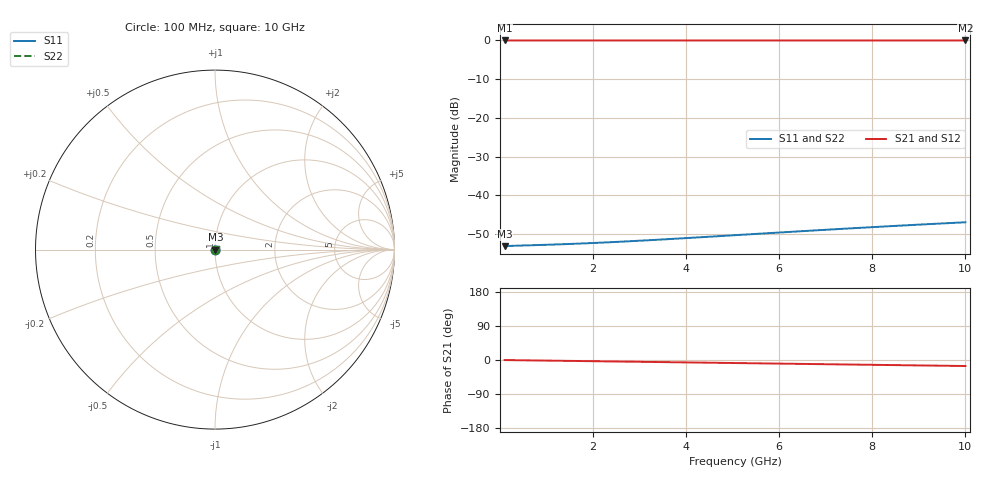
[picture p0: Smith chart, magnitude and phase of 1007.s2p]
# Hz S RI R 50.00
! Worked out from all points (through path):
!   100 points, 100 MHz to 10 GHz, reference 50 ohm
!   highest |S21| = -0.02 dB at 100 MHz (marker M1); lowest = 0.0 dB at 10 GHz (marker M2)
!   group delay of S21, straight-line fit = 4.41 ps
!   lowest |S11| = -53.1 dB at 100 MHz (marker M3), VSWR 1.00, Z = 50.2 + j0.00341 ohm
!   |S11| at or under -10 dB: start of sweep to end of sweep
!   |S22| runs from -53.1 to -46.9 dB; largest |S21 - S12| = 0
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1e8  0.00221 3.39e-05  0.9978 -0.00276  0.9978 -0.00276  0.00221 3.39e-05
2e8  0.00222 6.78e-05  0.9978 -0.00552  0.9978 -0.00552  0.00222 6.78e-05
3e8  0.00224 0.000102  0.9977 -0.00828  0.9977 -0.00828  0.00224 0.000102
9e8  0.00227 0.000303  0.9974 -0.0248  0.9974 -0.0248  0.00227 0.000303
1.2e9  0.00229 0.000404  0.9971 -0.0331  0.9971 -0.0331  0.00229 0.000404
1.5e9  0.00231 0.000504  0.9968 -0.0414  0.9968 -0.0414  0.00231 0.000504
1.8e9  0.00232 0.000603  0.9964 -0.0497  0.9964 -0.0497  0.00232 0.000603
2.2e9  0.00235 0.000735  0.9958 -0.0607  0.9958 -0.0607  0.00235 0.000735
2.6e9  0.00237 0.000866  0.995 -0.0717  0.995 -0.0717  0.00237 0.000866
3e9  0.0024 0.000996  0.9942 -0.0827  0.9942 -0.0827  0.0024 0.000996
3.4e9  0.00243 0.00112  0.9932 -0.0938  0.9932 -0.0938  0.00243 0.00112
3.7e9  0.00246 0.00122  0.9923 -0.102  0.9923 -0.102  0.00246 0.00122
4.1e9  0.00249 0.00135  0.9911 -0.113  0.9911 -0.113  0.00249 0.00135
5.1e9  0.00259 0.00166  0.9876 -0.1404  0.9876 -0.1404  0.00259 0.00166
5.9e9  0.00269 0.0019  0.9842 -0.1623  0.9842 -0.1623  0.00269 0.0019
6.7e9  0.00279 0.00213  0.9803 -0.1841  0.9803 -0.1841  0.00279 0.00213
7.2e9  0.00286 0.00228  0.9777 -0.1976  0.9777 -0.1976  0.00286 0.00228
7.6e9  0.00292 0.00239  0.9754 -0.2085  0.9754 -0.2085  0.00292 0.00239
8.4e9  0.00305 0.00261  0.9705 -0.2301  0.9705 -0.2301  0.00305 0.00261
9.2e9  0.00318 0.00282  0.9651 -0.2516  0.9651 -0.2516  0.00318 0.00282
9.6e9  0.00325 0.00293  0.9622 -0.2623  0.9622 -0.2623  0.00325 0.00293
1e10  0.00333 0.00303  0.9592 -0.273  0.9592 -0.273  0.00333 0.00303
